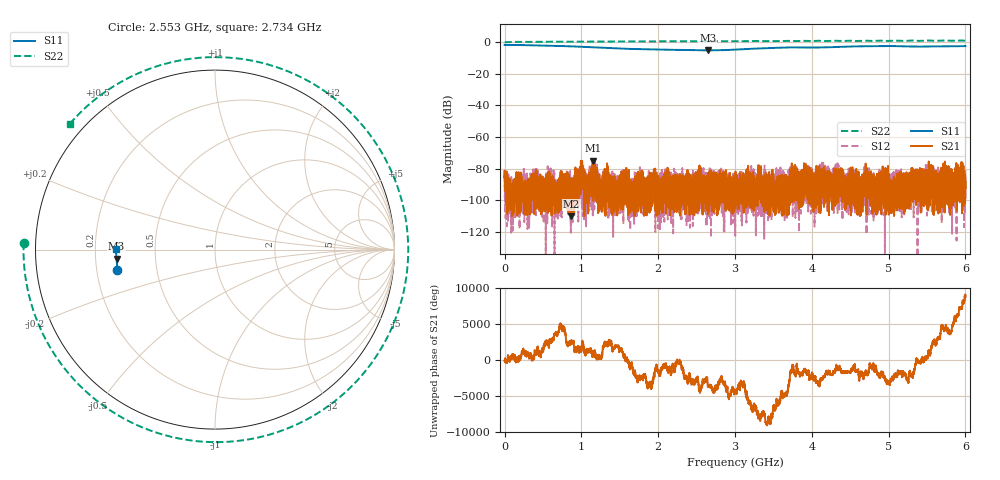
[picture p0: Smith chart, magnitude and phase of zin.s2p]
!  8/12/2020  03:03:08
! Ref Plane: 0.000 mm
# MHZ S MA R  50
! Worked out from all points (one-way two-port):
!   10001 points, 300 kHz to 6 GHz, reference 50 ohm
!   highest |S21| = -74.84 dB at 1.149 GHz (marker M1); lowest = -110.0 dB at 868.5 MHz (marker M2)
!   lowest |S11| = -5.2 dB at 2.644 GHz (marker M3), VSWR 3.45, Z = 14.5 - j2.13 ohm
!   |S11| at or under -10 dB: nowhere
!   |S22| runs from 0.0 to 1.1 dB; largest |S21 - S12| = 0.00023
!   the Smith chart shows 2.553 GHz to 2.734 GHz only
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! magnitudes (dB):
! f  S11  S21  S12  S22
! 300 kHz  -1.7  -84.9  -83.6  0.0
! 868.5 MHz  -2.6  -110.0  -97.3  0.3
! 1 GHz  -2.9  -77.1  -91.9  0.4
! 1.043 GHz  -3.0  -93.8  -96.0  0.3
! 1.149 GHz  -3.2  -74.8  -109.5  0.4
! 1.234 GHz  -3.4  -95.8  -96.8  0.4
! 1.603 GHz  -4.2  -99.8  -83.3  0.5
! 2.001 GHz  -4.7  -86.8  -90.2  0.5
! 2.644 GHz  -5.2  -90.4  -87.6  0.6
! 3 GHz  -4.7  -84.2  -95.9  0.6
! 3.624 GHz  -3.4  -89.5  -82.4  0.7
! 3.916 GHz  -3.4  -81.1  -86.1  0.8
! 4 GHz  -3.4  -95.0  -88.8  0.7
! 4.151 GHz  -3.3  -85.0  -80.9  0.7
! 4.244 GHz  -3.2  -88.7  -87.8  0.8
! 4.63 GHz  -2.6  -103.5  -89.0  0.8
! 4.894 GHz  -2.4  -90.6  -80.7  1.0
! 5 GHz  -2.4  -88.7  -97.0  0.8
! 5.299 GHz  -2.7  -93.8  -83.2  1.0
! 5.412 GHz  -2.8  -98.0  -96.0  0.8
! 5.927 GHz  -2.5  -82.6  -85.0  1.1
! 6 GHz  -2.5  -92.0  -80.7  0.9
